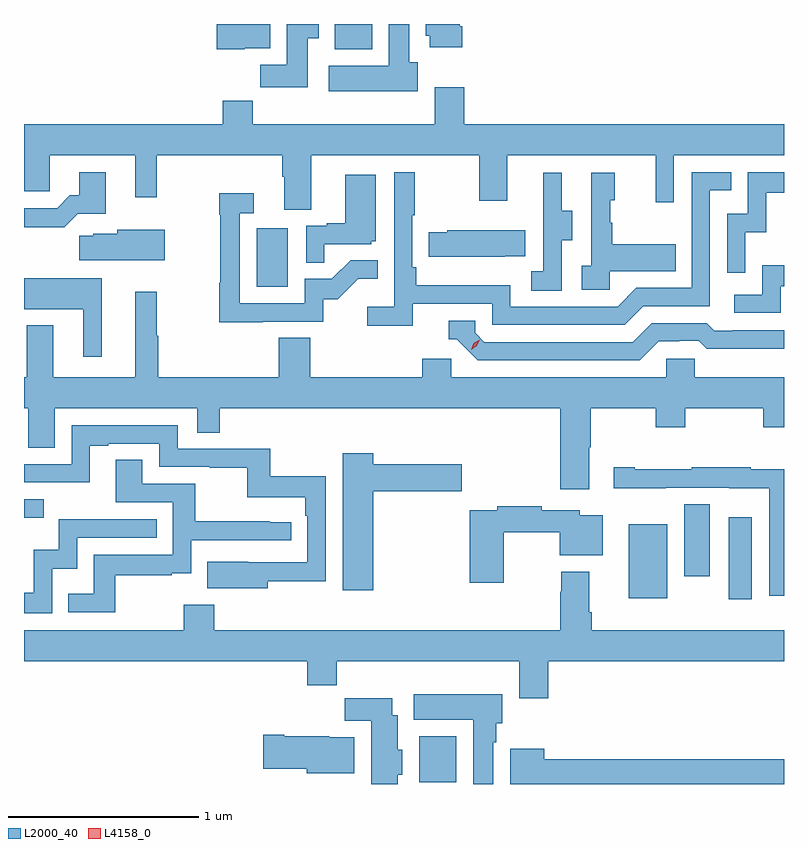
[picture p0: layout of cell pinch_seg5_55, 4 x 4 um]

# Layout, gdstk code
import gdstk
lib = gdstk.Library(unit=1e-6, precision=1e-09)
def R(c, l, rs):  # rectangles x0, y0, x1, y1
    for r in rs: c.add(gdstk.rectangle(r[:2], r[2:], *l))
def P(c, l, *ps):  # polygons
    for p in ps: c.add(gdstk.Polygon(p, *l))
L2000_40 = (2000, 40)
L4158_0 = (4158, 0)

pinch_seg5_55 = lib.new_cell('pinch_seg5_55')
R(pinch_seg5_55, L2000_40, [(1071.047,896.084,1071.244,896.326), (1072.676,897.048,1072.798,897.478), (1072.151,897.053,1072.354,897.442), (1072.442,897.168,1072.576,897.548), (1068.968,897.476,1069.072,897.573), (1070.192,898.692,1070.356,898.999), (1070.603,899.942,1070.8,900.075)])
P(pinch_seg5_55, L2000_40, [(1071.04,899.874),(1070.995,899.874),(1070.995,900.075),(1070.888,900.075),(1070.888,899.854),(1070.571,899.854),(1070.571,899.72),(1071.04,899.72)],
  [(1070.461,900.001),(1070.518,900.001),(1070.518,900.075),(1070.351,900.075),(1070.351,899.86),(1070.212,899.86),(1070.212,899.742),(1070.461,899.742)],
  [(1070.13,899.948),(1070.263,899.948),(1070.263,900.075),(1069.982,900.075),(1069.982,899.942),(1070.13,899.942)],
  [(1071.275,900.064),(1071.262,900.064),(1071.262,900.075),(1071.083,900.075),(1071.083,900.012),(1071.104,900.012),(1071.104,899.952),(1071.275,899.952)],
  [(1070.479,899.384),(1071.364,899.384),(1071.364,899.145),(1071.511,899.145),(1071.511,899.384),(1072.292,899.384),(1072.292,899.136),(1072.389,899.136),(1072.389,899.384),(1072.968,899.384),(1072.968,899.548),(1071.284,899.548),(1071.284,899.743),(1071.131,899.743),(1071.131,899.548),(1070.171,899.548),(1070.171,899.672),(1070.015,899.672),(1070.015,899.548),(1068.968,899.548),(1068.968,899.194),(1069.104,899.194),(1069.104,899.384),(1069.553,899.384),(1069.553,899.163),(1069.667,899.163),(1069.667,899.384),(1070.327,899.384),(1070.327,899.272),(1070.339,899.272),(1070.339,899.098),(1070.479,899.098)],
  [(1071.014,898.602),(1071.432,898.602),(1071.432,898.491),(1072.129,898.491),(1072.228,898.59),(1072.578,898.59),(1072.578,899.199),(1072.691,899.199),(1072.691,899.295),(1072.482,899.295),(1072.482,898.686),(1072.191,898.686),(1072.092,898.587),(1071.528,898.587),(1071.528,898.699),(1071.032,898.699),(1071.032,898.795),(1071.012,898.795),(1071.012,899.068),(1071.025,899.068),(1071.025,899.296),(1070.916,899.296),(1070.916,898.588),(1070.775,898.588),(1070.775,898.486),(1071.014,898.486)],
  [(1069.251,899.076),(1069.399,899.076),(1069.399,899.296),(1069.259,899.296),(1069.259,899.173),(1069.21,899.173),(1069.143,899.106),(1068.968,899.106),(1068.968,899.006),(1069.181,899.006)],
  [(1072.764,898.979),(1072.874,898.979),(1072.874,899.187),(1072.968,899.187),(1072.968,899.295),(1072.776,899.295),(1072.776,899.076),(1072.668,899.076),(1072.668,898.767),(1072.764,898.767)],
  [(1072.05,898.775),(1072.397,898.775),(1072.397,898.915),(1072.063,898.915),(1072.063,899.03),(1072.053,899.03),(1072.053,899.148),(1072.078,899.148),(1072.078,899.293),(1071.954,899.293),(1071.954,898.802),(1071.903,898.802),(1071.903,898.677),(1072.05,898.677)],
  [(1071.798,898.936),(1071.853,898.936),(1071.853,899.091),(1071.799,899.091),(1071.799,899.293),(1071.701,899.293),(1071.701,899.079),(1071.702,899.079),(1071.702,898.775),(1071.639,898.775),(1071.639,898.672),(1071.798,898.672)],
  [(1070.549,898.917),(1070.796,898.917),(1070.796,898.932),(1070.818,898.932),(1070.818,899.281),(1070.66,899.281),(1070.66,899.026),(1070.561,899.026),(1070.561,899.013),(1070.454,899.013),(1070.454,898.819),(1070.549,898.819)],
  [(1070.225,898.509),(1070.544,898.509),(1070.544,898.626),(1070.62,898.626),(1070.727,898.733),(1070.831,898.733),(1070.831,898.832),(1070.687,898.832),(1070.589,898.734),(1070.445,898.734),(1070.445,898.605),(1070.103,898.605),(1070.103,899.079),(1070.176,899.079),(1070.176,899.185),(1069.995,899.185),(1069.995,899.072),(1070.002,899.072),(1070.002,898.712),(1069.995,898.712),(1069.995,898.504),(1070.225,898.504)],
  [(1069.708,898.993),(1069.458,898.993),(1069.458,898.972),(1069.332,898.972),(1069.332,898.961),(1069.26,898.961),(1069.26,898.832),(1069.708,898.832)],
  [(1071.497,898.853),(1071.605,898.853),(1071.605,898.99),(1071.195,898.99),(1071.195,898.98),(1071.097,898.98),(1071.097,898.85),(1071.497,898.85)],
  [(1072.95,898.695),(1072.968,898.695),(1072.968,898.804),(1072.854,898.804),(1072.854,898.65),(1072.707,898.65),(1072.707,898.554),(1072.95,898.554)],
  [(1069.378,898.738),(1068.968,898.738),(1068.968,898.574),(1069.28,898.574),(1069.28,898.323),(1069.378,898.323)],
  [(1071.943,897.848),(1071.951,897.848),(1071.951,898.052),(1072.294,898.052),(1072.294,897.953),(1072.449,897.953),(1072.449,898.052),(1072.858,898.052),(1072.858,897.953),(1072.968,897.953),(1072.968,898.216),(1072.497,898.216),(1072.497,898.314),(1072.347,898.314),(1072.347,898.216),(1071.216,898.216),(1071.216,898.314),(1071.065,898.314),(1071.065,898.216),(1070.474,898.216),(1070.474,898.424),(1070.309,898.424),(1070.309,898.216),(1069.675,898.216),(1069.675,898.433),(1069.667,898.433),(1069.667,898.666),(1069.553,898.666),(1069.553,898.216),(1069.123,898.216),(1069.123,898.489),(1068.983,898.489),(1068.983,898.216),(1068.968,898.216),(1068.968,898.052),(1068.99,898.052),(1068.99,897.844),(1069.129,897.844),(1069.129,898.052),(1069.881,898.052),(1069.881,897.925),(1069.997,897.925),(1069.997,898.052),(1071.791,898.052),(1071.791,897.627),(1071.943,897.627)],
  [(1072.309,898.404),(1072.416,898.404),(1072.416,898.407),(1072.519,898.407),(1072.561,898.365),(1072.794,898.365),(1072.794,898.367),(1072.968,898.367),(1072.968,898.464),(1072.699,898.464),(1072.699,898.461),(1072.6,898.461),(1072.561,898.5),(1072.272,898.5),(1072.173,898.401),(1071.39,898.401),(1071.342,898.449),(1071.342,898.512),(1071.203,898.512),(1071.203,898.416),(1071.246,898.416),(1071.357,898.305),(1072.21,898.305)],
  [(1070.251,897.142),(1070.556,897.142),(1070.556,897.694),(1070.263,897.694),(1070.263,897.84),(1069.776,897.84),(1069.776,897.963),(1069.218,897.963),(1069.218,897.759),(1068.968,897.759),(1068.968,897.663),(1069.11,897.663),(1069.11,897.662),(1069.315,897.662),(1069.315,897.855),(1069.411,897.855),(1069.411,897.867),(1069.68,897.867),(1069.68,897.744),(1069.945,897.744),(1069.945,897.739),(1070.142,897.739),(1070.142,897.584),(1070.447,897.584),(1070.447,897.488),(1070.46,897.488),(1070.46,897.243),(1070.147,897.243),(1070.147,897.244),(1069.933,897.244),(1069.933,897.104),(1070.251,897.104)],
  [(1070.806,897.617),(1071.271,897.617),(1071.271,897.759),(1070.806,897.759),(1070.806,897.817),(1070.645,897.817),(1070.645,897.096),(1070.806,897.096)],
  [(1069.447,897.174),(1069.745,897.174),(1069.745,897.185),(1069.848,897.185),(1069.848,897.357),(1070.374,897.357),(1070.374,897.453),(1070.261,897.453),(1070.261,897.458),(1069.868,897.458),(1069.868,897.654),(1069.591,897.654),(1069.591,897.782),(1069.451,897.782),(1069.451,897.558),(1069.752,897.558),(1069.752,897.282),(1069.336,897.282),(1069.336,897.076),(1069.201,897.076),(1069.201,896.979),(1069.447,896.979)],
  [(1072.968,897.732),(1072.793,897.732),(1072.793,897.742),(1072.483,897.742),(1072.483,897.732),(1072.183,897.732),(1072.183,897.742),(1072.071,897.742),(1072.071,897.632),(1072.346,897.632),(1072.346,897.633),(1072.68,897.633),(1072.68,897.632),(1072.89,897.632),(1072.89,897.066),(1072.968,897.066)],
  [(1071.492,897.4),(1071.788,897.4),(1071.788,897.278),(1072.015,897.278),(1072.015,897.49),(1071.894,897.49),(1071.894,897.516),(1071.692,897.516),(1071.692,897.536),(1071.46,897.536),(1071.46,897.516),(1071.314,897.516),(1071.314,897.135),(1071.492,897.135)],
  [(1069.116,897.209),(1069.248,897.209),(1069.248,897.372),(1069.667,897.372),(1069.667,897.468),(1069.152,897.468),(1069.152,897.307),(1069.019,897.307),(1069.019,897.082),(1068.968,897.082),(1068.968,896.973),(1069.116,896.973)],
  [(1071.728,896.72),(1072.968,896.72),(1072.968,896.884),(1071.956,896.884),(1071.956,896.98),(1071.943,896.98),(1071.943,897.193),(1071.796,897.193),(1071.796,897.086),(1071.791,897.086),(1071.791,896.884),(1069.97,896.884),(1069.97,897.019),(1069.81,897.019),(1069.81,896.884),(1068.968,896.884),(1068.968,896.72),(1070.459,896.72),(1070.459,896.596),(1070.615,896.596),(1070.615,896.72),(1071.575,896.72),(1071.575,896.526),(1071.728,896.526)],
  [(1071.439,896.294),(1071.454,896.294),(1071.454,896.394),(1071.484,896.394),(1071.484,896.548),(1071.02,896.548),(1071.02,896.414),(1071.332,896.414),(1071.332,896.075),(1071.439,896.075)],
  [(1070.935,896.124),(1070.959,896.124),(1070.959,896.256),(1070.935,896.256),(1070.935,896.437),(1070.905,896.437),(1070.905,896.527),(1070.656,896.527),(1070.656,896.408),(1070.795,896.408),(1070.795,896.075),(1070.935,896.075)],
  [(1070.707,896.32),(1070.574,896.32),(1070.574,896.326),(1070.338,896.326),(1070.338,896.334),(1070.226,896.334),(1070.226,896.156),(1070.456,896.156),(1070.456,896.132),(1070.707,896.132)],
  [(1072.968,896.204),(1071.706,896.204),(1071.706,896.26),(1071.527,896.26),(1071.527,896.075),(1072.968,896.075)])
P(pinch_seg5_55, L4158_0, [(1071.321,898.361),(1071.321,898.361),(1071.336,898.394),(1071.367,898.414),(1071.367,898.414),(1071.367,898.414),(1071.351,898.381),(1071.321,898.361)])

lib.write_gds('pinch_seg5_55.gds')
